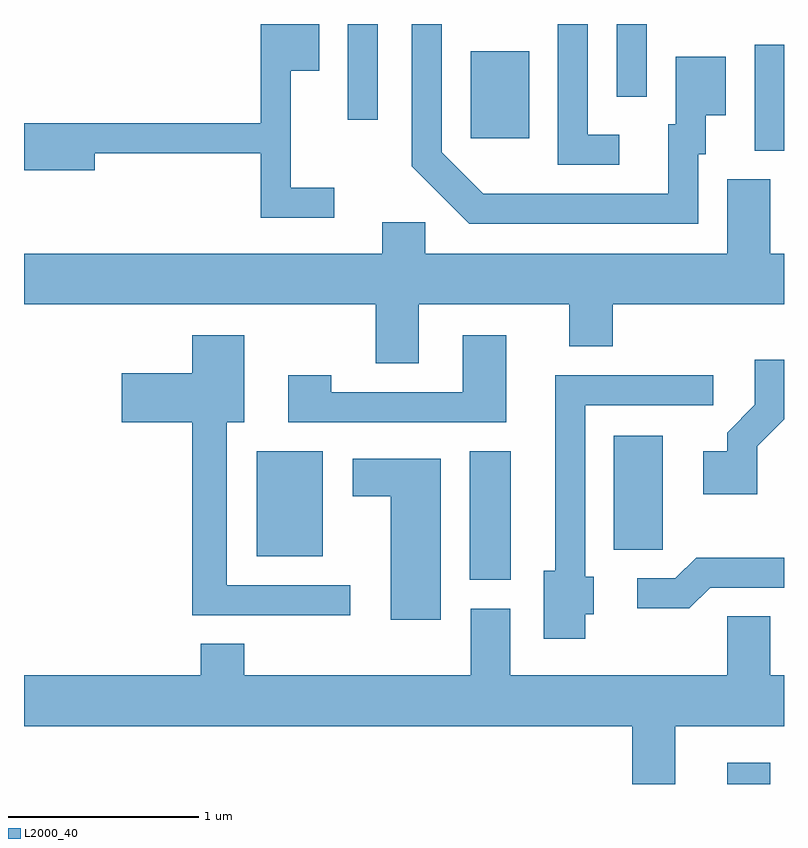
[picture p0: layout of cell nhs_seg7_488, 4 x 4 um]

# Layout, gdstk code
import gdstk
lib = gdstk.Library(unit=1e-6, precision=1e-09)
def R(c, l, rs):  # rectangles x0, y0, x1, y1
    for r in rs: c.add(gdstk.rectangle(r[:2], r[2:], *l))
def P(c, l, *ps):  # polygons
    for p in ps: c.add(gdstk.Polygon(p, *l))
L2000_40 = (2000, 40)

nhs_seg7_488 = lib.new_cell('nhs_seg7_488')
R(nhs_seg7_488, L2000_40, [(203.311,1696.252,203.539,1696.364), (201.956,1697.326,202.174,1698.004), (200.836,1697.451,201.184,1698.004), (202.716,1697.486,202.974,1698.084), (203.456,1699.586,203.611,1700.144), (201.961,1699.651,202.269,1700.109), (201.316,1699.748,201.474,1700.252), (202.731,1699.868,202.889,1700.252)])
P(nhs_seg7_488, L2000_40, [(202.743,1699.669),(202.579,1699.669),(202.579,1700.252),(202.421,1700.252),(202.421,1699.511),(202.743,1699.511)],
  [(201.243,1699.389),(201.014,1699.389),(201.014,1700.006),(201.164,1700.006),(201.164,1700.252),(200.856,1700.252),(200.856,1699.729),(199.611,1699.729),(199.611,1699.481),(199.984,1699.481),(199.984,1699.571),(200.856,1699.571),(200.856,1699.231),(201.243,1699.231)],
  [(203.159,1699.566),(203.199,1699.566),(203.199,1699.771),(203.304,1699.771),(203.304,1700.079),(203.041,1700.079),(203.041,1699.724),(203.001,1699.724),(203.001,1699.359),(202.027,1699.359),(201.809,1699.577),(201.809,1700.252),(201.651,1700.252),(201.651,1699.504),(201.954,1699.201),(203.159,1699.201)],
  [(201.689,1698.776),(202.481,1698.776),(202.481,1698.556),(202.709,1698.556),(202.709,1698.776),(203.611,1698.776),(203.611,1699.044),(203.539,1699.044),(203.539,1699.434),(203.311,1699.434),(203.311,1699.044),(201.724,1699.044),(201.724,1699.209),(201.496,1699.209),(201.496,1699.044),(199.611,1699.044),(199.611,1698.776),(201.461,1698.776),(201.461,1698.466),(201.689,1698.466)],
  [(202.149,1698.614),(201.921,1698.614),(201.921,1698.314),(201.229,1698.314),(201.229,1698.404),(201.001,1698.404),(201.001,1698.156),(202.149,1698.156)],
  [(201.328,1697.299),(200.679,1697.299),(200.679,1698.156),(200.769,1698.156),(200.769,1698.614),(200.496,1698.614),(200.496,1698.414),(200.126,1698.414),(200.126,1698.156),(200.496,1698.156),(200.496,1697.141),(201.328,1697.141)],
  [(203.469,1698.029),(203.611,1698.171),(203.611,1698.484),(203.456,1698.484),(203.456,1698.247),(203.311,1698.102),(203.311,1698.004),(203.186,1698.004),(203.186,1697.776),(203.469,1697.776)],
  [(202.564,1697.146),(202.609,1697.146),(202.609,1697.344),(202.564,1697.344),(202.564,1698.246),(203.238,1698.246),(203.238,1698.404),(202.406,1698.404),(202.406,1697.374),(202.346,1697.374),(202.346,1697.016),(202.564,1697.016)],
  [(201.804,1697.964),(201.341,1697.964),(201.341,1697.766),(201.541,1697.766),(201.541,1697.116),(201.804,1697.116)],
  [(203.222,1697.286),(203.611,1697.286),(203.611,1697.444),(203.149,1697.444),(203.039,1697.334),(202.838,1697.334),(202.838,1697.176),(203.112,1697.176)],
  [(203.039,1696.556),(203.611,1696.556),(203.611,1696.824),(203.539,1696.824),(203.539,1697.134),(203.311,1697.134),(203.311,1696.824),(202.169,1696.824),(202.169,1697.174),(201.961,1697.174),(201.961,1696.824),(200.769,1696.824),(200.769,1696.989),(200.541,1696.989),(200.541,1696.824),(199.611,1696.824),(199.611,1696.556),(202.811,1696.556),(202.811,1696.252),(203.039,1696.252)])

lib.write_gds('nhs_seg7_488.gds')
